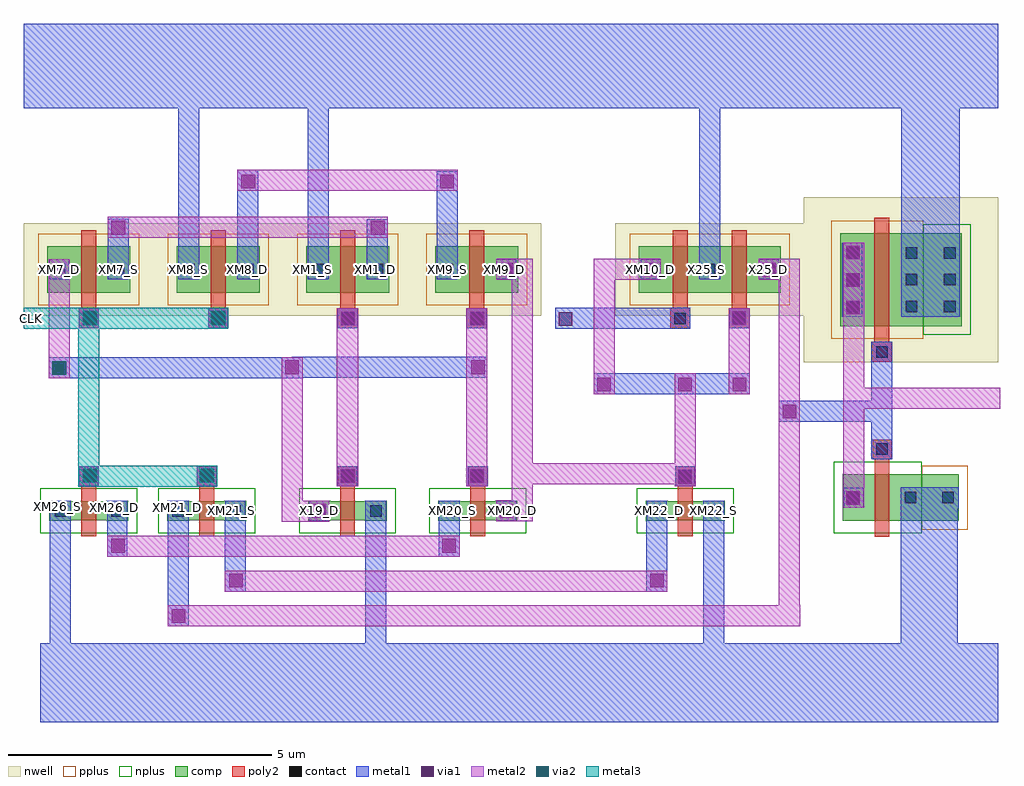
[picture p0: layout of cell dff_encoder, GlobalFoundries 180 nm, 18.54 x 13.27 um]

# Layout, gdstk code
import gdstk
lib = gdstk.Library(unit=1e-6, precision=5e-09)
def R(c, l, rs):  # rectangles x0, y0, x1, y1
    for r in rs: c.add(gdstk.rectangle(r[:2], r[2:], *l))
def A(c, l, x, y, w, h, nx, ny, dx, dy):  # array of equal rectangles
    R(c, l, [(x+i*dx, y+j*dy, x+i*dx+w, y+j*dy+h) for i in range(nx) for j in range(ny)])
def P(c, l, *ps):  # polygons
    for p in ps: c.add(gdstk.Polygon(p, *l))
nwell = (21, 0)
comp = (22, 0)
poly2 = (30, 0)
pplus = (31, 0)
nplus = (32, 0)
contact = (33, 0)
metal1 = (34, 0)
via1 = (35, 0)
metal2 = (36, 0)
via2 = (38, 0)
metal3 = (42, 0)

pfet_2 = lib.new_cell('pfet$2')
R(pfet_2, nwell, [(-0.9,-0.44,1.56,1.32)])
R(pfet_2, comp, [(-0.46,0,0,0.88), (0,0,0.66,0.88), (0.66,0,1.12,0.88)])
R(pfet_2, poly2, [(0.14,-0.68,0.52,-0.3), (0.19,-0.3,0.47,1.18)])
R(pfet_2, pplus, [(-0.63,-0.24,1.29,1.12)])
R(pfet_2, contact, [(0.22,-0.6,0.44,-0.38), (-0.34,0.33,-0.12,0.55), (0.78,0.33,1,0.55)])
R(pfet_2, metal1, [(0.14,-0.68,0.52,-0.3), (-0.42,0.25,-0.04,0.63), (0.7,0.25,1.08,0.63)])

nfet = lib.new_cell('nfet')
R(nfet, comp, [(-0.42,-0.01,0,0.37), (0.66,-0.01,1.08,0.37), (0,0,0.66,0.36)])
R(nfet, poly2, [(0.19,-0.3,0.47,0.66), (0.15,0.66,0.51,1.02)])
R(nfet, nplus, [(-0.59,-0.25,1.25,0.61)])
R(nfet, contact, [(-0.32,0.07,-0.1,0.29), (0.76,0.07,0.98,0.29), (0.22,0.73,0.44,0.95)])
R(nfet, metal1, [(-0.4,-0.01,-0.02,0.37), (0.68,-0.01,1.06,0.37), (0.14,0.65,0.52,1.03)])

nfet_3 = lib.new_cell('nfet$3')
R(nfet_3, comp, [(-0.42,-0.01,0,0.37), (0.66,-0.01,1.08,0.37), (0,0,0.66,0.36)])
R(nfet_3, poly2, [(0.19,-0.3,0.47,0.66), (0.15,0.66,0.51,1.02)])
R(nfet_3, nplus, [(-0.59,-0.25,1.25,0.61)])
R(nfet_3, contact, [(-0.32,0.07,-0.1,0.29), (0.76,0.07,0.98,0.29), (0.22,0.73,0.44,0.95)])
R(nfet_3, metal1, [(-0.4,-0.01,-0.02,0.37), (0.68,-0.01,1.06,0.37), (0.14,0.65,0.52,1.03)])

nfet_2 = lib.new_cell('nfet$2')
R(nfet_2, comp, [(-0.42,0,0,0.88), (0,0,0.66,0.88), (0.66,0,1.08,0.88), (1.08,0,1.79,0.88)])
R(nfet_2, poly2, [(0.19,-0.3,0.47,1.18), (0.15,1.18,0.51,1.54)])
R(nfet_2, pplus, [(1.08,-0.17,1.96,1.05)])
R(nfet_2, nplus, [(-0.59,-0.24,1.08,1.12)])
R(nfet_2, contact, [(-0.32,0.33,-0.1,0.55), (0.76,0.33,0.98,0.55), (1.47,0.33,1.69,0.55), (0.22,1.25,0.44,1.47)])
R(nfet_2, metal1, [(-0.4,0.25,-0.02,0.63), (0.68,0.25,1.06,0.63), (1.39,0.25,1.77,0.63), (0.14,1.17,0.52,1.55)])

pfet_1 = lib.new_cell('pfet$1')
R(pfet_1, nwell, [(-1.15,-0.69,2.54,2.45)])
R(pfet_1, comp, [(-0.46,0,0,1.76), (0,0,0.66,1.76), (0.66,0,1.12,1.76), (1.12,0,1.85,1.76)])
R(pfet_1, poly2, [(0.14,-0.68,0.52,-0.3), (0.19,-0.3,0.47,2.06)])
R(pfet_1, pplus, [(-0.63,-0.24,1.12,2)])
R(pfet_1, nplus, [(1.12,-0.17,2.02,1.93)])
A(pfet_1, contact, -0.34, 0.26, 0.22, 0.22, 1, 3, 0, 0.51)
A(pfet_1, contact, 0.78, 0.26, 0.22, 0.22, 1, 3, 0, 0.51)
A(pfet_1, contact, 1.51, 0.26, 0.22, 0.22, 1, 3, 0, 0.51)
R(pfet_1, contact, [(0.22,-0.6,0.44,-0.38)])
R(pfet_1, metal1, [(0.14,-0.68,0.52,-0.3), (-0.42,0.18,-0.04,1.58), (0.7,0.18,1.08,1.58), (1.43,0.18,1.81,1.58)])

dff_encoder = lib.new_cell('dff_encoder')
R(dff_encoder, metal1, [(20.32,2.815,38.515,4.315), (36.66,4.315,37.75,7.27), (21.59,5.955,21.97,7.02), (36.675,10.52,37.785,11.92), (36.675,10.52,37.785,15.035)])
P(dff_encoder, metal1, [(20.01,14.475),(20.01,16.08),(38.515,16.08),(38.515,14.475),(23.165,14.475)])
R(dff_encoder, via1, [(22.815,4.7,23.075,4.96), (23.905,5.375,24.165,5.635), (31.905,5.375,32.165,5.635), (21.665,6.035,21.925,6.295), (27.955,6.035,28.215,6.295), (29.045,6.695,29.305,6.955), (25.48,6.7,25.74,6.96), (35.63,6.945,35.89,7.205), (32.435,7.345,32.695,7.605), (26.03,7.36,26.29,7.62), (28.485,7.36,28.745,7.62), (21.135,7.37,21.395,7.63), (23.35,7.37,23.61,7.63), (34.42,8.585,34.68,8.845), (30.9,9.1,31.16,9.36), (32.435,9.1,32.695,9.36), (33.47,9.1,33.73,9.36), (24.97,9.425,25.23,9.685), (28.505,9.425,28.765,9.685), (30.165,10.345,30.425,10.605), (26.035,10.355,26.295,10.615), (28.49,10.355,28.75,10.615), (23.57,10.36,23.83,10.62), (21.135,10.365,21.395,10.625), (33.465,10.365,33.725,10.625), (35.63,10.56,35.89,10.82), (35.63,11.085,35.89,11.345), (34.03,11.28,34.29,11.54), (29.045,11.285,29.305,11.545), (31.79,11.285,32.05,11.545), (35.63,11.605,35.89,11.865), (21.67,12.075,21.93,12.335), (26.6,12.075,26.86,12.335), (24.14,12.955,24.4,13.215), (27.915,12.955,28.175,13.215)])
R(dff_encoder, metal2, [(21.59,5.955,28.29,6.355), (21.05,7.3,21.43,7.68), (23.29,7.305,23.67,7.68), (21.05,10.295,21.43,10.675), (23.51,10.295,23.89,10.675)])
R(dff_encoder, via2, [(21.135,7.37,21.395,7.63), (23.35,7.37,23.61,7.63), (20.55,9.415,20.81,9.675), (23.57,10.36,23.83,10.62), (21.135,10.365,21.395,10.625)])
dff_encoder.add(gdstk.FlexPath([(20.695,7.02),(20.695,4.315)], 0.4, ends="flush", simple_path=True, layer=34, datatype=0))  # metal1
dff_encoder.add(gdstk.FlexPath([(23.14,11.225),(23.14,14.475)], 0.4, ends="flush", simple_path=True, layer=34, datatype=0))  # metal1
dff_encoder.add(gdstk.FlexPath([(25.6,11.225),(25.6,14.475)], 0.4, ends="flush", simple_path=True, layer=34, datatype=0))  # metal1
dff_encoder.add(gdstk.FlexPath([(28.09,7.02),(28.09,5.955)], 0.4, ends="flush", simple_path=True, layer=34, datatype=0))  # metal1
dff_encoder.add(gdstk.FlexPath([(22.94,7.02),(22.94,4.64)], 0.4, ends="flush", simple_path=True, layer=34, datatype=0))  # metal1
dff_encoder.add(gdstk.FlexPath([(26.695,7.02),(26.695,4.315)], 0.4, ends="flush", simple_path=True, layer=34, datatype=0))  # metal1
dff_encoder.add(gdstk.FlexPath([(33.11,7.02),(33.11,4.315)], 0.4, ends="flush", simple_path=True, layer=34, datatype=0))  # metal1
dff_encoder.add(gdstk.FlexPath([(24.02,6.64),(24.02,5.355),(24.02,5.29)], 0.4, ends="flush", simple_path=True, layer=34, datatype=0))  # metal1
dff_encoder.add(gdstk.FlexPath([(32.03,6.64),(32.03,5.29)], 0.4, ends="flush", simple_path=True, layer=34, datatype=0))  # metal1
dff_encoder.add(gdstk.FlexPath([(25.1,9.555),(28.81,9.555)], 0.4, ends="flush", simple_path=True, layer=34, datatype=0))  # metal1
dff_encoder.add(gdstk.FlexPath([(26.72,11.225),(26.72,12.37)], 0.4, ends="flush", simple_path=True, layer=34, datatype=0))  # metal1
dff_encoder.add(gdstk.FlexPath([(21.8,11.225),(21.8,12.38)], 0.4, ends="flush", simple_path=True, layer=34, datatype=0))  # metal1
dff_encoder.add(gdstk.FlexPath([(20.48,9.55),(25.305,9.55)], 0.4, ends="flush", simple_path=True, layer=34, datatype=0))  # metal1
dff_encoder.add(gdstk.FlexPath([(36.305,10.04),(36.305,7.82)], 0.4, ends="flush", simple_path=True, layer=34, datatype=0))  # metal1
dff_encoder.add(gdstk.FlexPath([(36.66,7.08),(37.77,7.08)], 0.4, ends="flush", simple_path=True, layer=34, datatype=0))  # metal1
dff_encoder.add(gdstk.FlexPath([(36.505,8.725),(34.35,8.725)], 0.4, ends="flush", simple_path=True, layer=34, datatype=0))  # metal1
dff_encoder.add(gdstk.FlexPath([(33.035,11.225),(33.035,15.015)], 0.4, ends="flush", simple_path=True, layer=34, datatype=0))  # metal1
dff_encoder.add(gdstk.FlexPath([(30.83,9.24),(33.795,9.24)], 0.4, ends="flush", simple_path=True, layer=34, datatype=0))  # metal1
dff_encoder.add(gdstk.FlexPath([(32.665,10.485),(30.1,10.485)], 0.4, ends="flush", simple_path=True, layer=34, datatype=0))  # metal1
dff_encoder.add(gdstk.FlexPath([(28.05,11.225),(28.05,13.28)], 0.4, ends="flush", simple_path=True, layer=34, datatype=0))  # metal1
dff_encoder.add(gdstk.FlexPath([(24.26,11.225),(24.26,13.31)], 0.4, ends="flush", simple_path=True, layer=34, datatype=0))  # metal1
dff_encoder.add(gdstk.FlexPath([(23.82,5.49),(32.23,5.49)], 0.4, ends="flush", simple_path=True, layer=36, datatype=0))  # metal2
dff_encoder.add(gdstk.FlexPath([(32.57,7.3),(32.57,9.44)], 0.4, ends="flush", simple_path=True, layer=36, datatype=0))  # metal2
dff_encoder.add(gdstk.FlexPath([(34.55,6.18),(34.55,8.925)], 0.4, ends="flush", simple_path=True, layer=36, datatype=0))  # metal2
dff_encoder.add(gdstk.FlexPath([(22.74,4.84),(34.76,4.84)], 0.4, ends="flush", simple_path=True, layer=36, datatype=0))  # metal2
dff_encoder.add(gdstk.FlexPath([(34.55,6.18),(34.55,5.04)], 0.4, ends="flush", simple_path=True, layer=36, datatype=0))  # metal2
dff_encoder.add(gdstk.FlexPath([(29.675,7.535),(32.37,7.535)], 0.4, ends="flush", simple_path=True, layer=36, datatype=0))  # metal2
dff_encoder.add(gdstk.FlexPath([(21.6,12.215),(26.92,12.215)], 0.4, ends="flush", simple_path=True, layer=36, datatype=0))  # metal2
dff_encoder.add(gdstk.FlexPath([(20.68,11.605),(20.68,9.35)], 0.4, ends="flush", simple_path=True, layer=36, datatype=0))  # metal2
dff_encoder.add(gdstk.FlexPath([(25.105,6.64),(25.105,9.75)], 0.4, ends="flush", simple_path=True, layer=36, datatype=0))  # metal2
dff_encoder.add(gdstk.FlexPath([(35.57,8.97),(38.55,8.97)], 0.4, ends="flush", simple_path=True, layer=36, datatype=0))  # metal2
dff_encoder.add(gdstk.FlexPath([(35.77,6.89),(35.77,11.92)], 0.4, ends="flush", simple_path=True, layer=36, datatype=0))  # metal2
dff_encoder.add(gdstk.FlexPath([(24.905,6.825),(25.805,6.825)], 0.4, ends="flush", simple_path=True, layer=36, datatype=0))  # metal2
dff_encoder.add(gdstk.FlexPath([(34.55,8.925),(34.55,11.605)], 0.4, ends="flush", simple_path=True, layer=36, datatype=0))  # metal2
dff_encoder.add(gdstk.FlexPath([(33.965,11.415),(34.75,11.415)], 0.4, ends="flush", simple_path=True, layer=36, datatype=0))  # metal2
dff_encoder.add(gdstk.FlexPath([(32.105,11.415),(31.03,11.415),(31.03,9.04)], 0.4, ends="flush", simple_path=True, layer=36, datatype=0))  # metal2
dff_encoder.add(gdstk.FlexPath([(33.595,10.675),(33.595,9.045)], 0.4, ends="flush", simple_path=True, layer=36, datatype=0))  # metal2
dff_encoder.add(gdstk.FlexPath([(28.25,13.11),(24.06,13.11)], 0.4, ends="flush", simple_path=True, layer=36, datatype=0))  # metal2
dff_encoder.add(gdstk.FlexPath([(26.155,7.3),(26.155,10.675)], 0.4, ends="flush", simple_path=True, layer=36, datatype=0))  # metal2
dff_encoder.add(gdstk.FlexPath([(28.61,7.3),(28.61,10.675)], 0.4, ends="flush", simple_path=True, layer=36, datatype=0))  # metal2
dff_encoder.add(gdstk.FlexPath([(28.98,11.415),(29.475,11.415),(29.475,6.64)], 0.4, ends="flush", simple_path=True, layer=36, datatype=0))  # metal2
dff_encoder.add(gdstk.FlexPath([(28.98,6.83),(29.675,6.83)], 0.4, ends="flush", simple_path=True, layer=36, datatype=0))  # metal2
dff_encoder.add(gdstk.FlexPath([(23.685,7.49),(21.04,7.49)], 0.4, ends="flush", simple_path=True, layer=42, datatype=0))  # metal3
dff_encoder.add(gdstk.FlexPath([(21.24,10.675),(21.24,7.3)], 0.4, ends="flush", simple_path=True, layer=42, datatype=0))  # metal3
dff_encoder.add(gdstk.FlexPath([(21.43,10.485),(20.01,10.485)], 0.4, ends="flush", simple_path=True, layer=42, datatype=0))  # metal3
dff_encoder.add(gdstk.FlexPath([(21.05,10.485),(23.89,10.485)], 0.4, ends="flush", simple_path=True, layer=42, datatype=0))  # metal3
dff_encoder.add(gdstk.Reference(pfet_2, (32.145,10.975)))
dff_encoder.add(gdstk.Reference(pfet_2, (23.37,10.975)))
dff_encoder.add(gdstk.Reference(pfet_2, (20.91,10.975)))
dff_encoder.add(gdstk.Reference(pfet_2, (25.83,10.975)))
dff_encoder.add(gdstk.Reference(pfet_2, (28.28,10.975)))
dff_encoder.add(gdstk.Reference(nfet, (32.24,6.65)))
dff_encoder.add(gdstk.Reference(nfet, (23.15,6.65)))
dff_encoder.add(gdstk.Reference(nfet_3, (25.825,6.65)))
dff_encoder.add(gdstk.Reference(nfet_2, (35.98,6.64)))
dff_encoder.add(gdstk.Reference(pfet_1, (35.975,10.34)))
dff_encoder.add(gdstk.Reference(nfet, (20.91,6.65)))
dff_encoder.add(gdstk.Reference(pfet_2, (33.265,10.975)))
dff_encoder.add(gdstk.Reference(nfet, (28.3,6.65)))
dff_encoder.add(gdstk.Label('XM26_S', (20.65,6.92), layer=34, texttype=0))
dff_encoder.add(gdstk.Label('XM26_D', (21.72,6.895), layer=34, texttype=0))
dff_encoder.add(gdstk.Label('XM21_D', (22.93,6.89), layer=34, texttype=0))
dff_encoder.add(gdstk.Label('XM21_S', (23.955,6.835), layer=34, texttype=0))
dff_encoder.add(gdstk.Label('XM20_S', (28.145,6.83), layer=34, texttype=0))
dff_encoder.add(gdstk.Label('XM22_D', (32.075,6.83), layer=34, texttype=0))
dff_encoder.add(gdstk.Label('XM8_D', (24.265,11.415), layer=34, texttype=0))
dff_encoder.add(gdstk.Label('XM7_S', (21.8,11.415), layer=34, texttype=0))
dff_encoder.add(gdstk.Label('XM1_S', (25.485,11.415), layer=34, texttype=0))
dff_encoder.add(gdstk.Label('XM1_D', (26.69,11.415), layer=34, texttype=0))
dff_encoder.add(gdstk.Label('XM7_D', (20.69,11.415), layer=34, texttype=0))
dff_encoder.add(gdstk.Label('XM8_S', (23.135,11.415), layer=34, texttype=0))
dff_encoder.add(gdstk.Label('X19_D', (25.615,6.83), layer=34, texttype=0))
dff_encoder.add(gdstk.Label('XM10_D', (31.915,11.415), layer=34, texttype=0))
dff_encoder.add(gdstk.Label('XM22_S', (33.11,6.83), layer=34, texttype=0))
dff_encoder.add(gdstk.Label('XM20_D', (29.28,6.83), layer=34, texttype=0))
dff_encoder.add(gdstk.Label('RST', (2.77,6.935), layer=34, texttype=10))
dff_encoder.add(gdstk.Label('GND', (3.33,4.05), layer=34, texttype=10))
dff_encoder.add(gdstk.Label('VDD', (3.92,13.345), layer=34, texttype=10))
dff_encoder.add(gdstk.Label('XM9_D', (29.135,11.415), layer=36, texttype=0))
dff_encoder.add(gdstk.Label('X25_D', (34.16,11.41), layer=36, texttype=0))
dff_encoder.add(gdstk.Label('X25_S', (32.97,11.41), layer=36, texttype=0))
dff_encoder.add(gdstk.Label('XM9_S', (28.05,11.415), layer=36, texttype=0))
dff_encoder.add(gdstk.Label('Q', (16.915,8.255), layer=36, texttype=10))
dff_encoder.add(gdstk.Label('CLK', (2.795,8.18), layer=42, texttype=10))
dff_encoder.add(gdstk.Label('CLK', (20.15,10.485), layer=42, texttype=10))

lib.write_gds('dff_encoder.gds')
